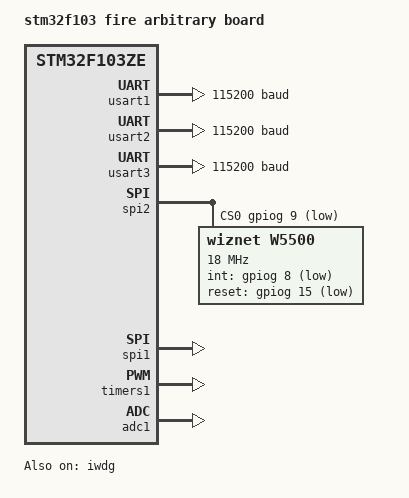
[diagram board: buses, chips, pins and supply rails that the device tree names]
/*
 * Copyright (c) 2017 Linaro Limited
 *
 * SPDX-License-Identifier: Apache-2.0
 */

/dts-v1/;
#include <st/f1/stm32f103Xe.dtsi>

/ {
	model = "stm32f103 fire arbitrary board";
	compatible = "st,stm32f103ze";

	chosen {
		zephyr,console = &usart1;
		zephyr,shell-uart = &usart1;
		zephyr,sram = &sram0;
		zephyr,flash = &flash0;
	};
};

&usart1 {
	status = "okay";
	current-speed = <115200>;
};

&usart2 {
	current-speed = <115200>;
	status = "okay";
};

&usart3 {
	current-speed = <115200>;
};

&spi2 {
	status = "okay";
	cs-gpios = <&gpiog 9 GPIO_ACTIVE_LOW>;
	w5500@0 {
		compatible = "wiznet,w5500";
		label = "W5500";
		reg = <0>;
		spi-max-frequency = <18000000>;
		int-gpios = <&gpiog 8 GPIO_ACTIVE_LOW>;
		reset-gpios = <&gpiog 15 GPIO_ACTIVE_LOW>;
	};
};

&spi1 {
	status = "okay";
};

&timers1 {
	status = "okay";

	pwm1: pwm {
		status = "okay";
	};
};

&iwdg {
	status = "okay";
};

&adc1 {
	status = "okay";
};
